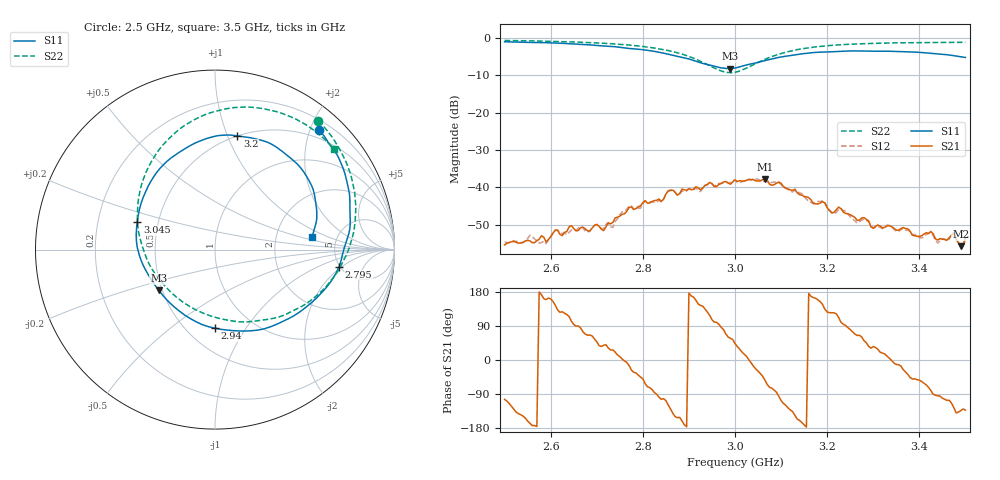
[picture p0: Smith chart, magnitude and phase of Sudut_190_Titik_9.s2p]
# Hz S RI R 50
! CMT, C1220, 16058040, 17.2.0/1
! Date: 15/08/2018 09:48:45
! Data: Format (Calibration Info)
! Freq  S11: Re/Im (F2)  S21: Re/Im (F2)  S12: Re/Im (F2)  S22: Re/Im (F2)
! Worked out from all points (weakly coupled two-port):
!   201 points, 2.5 GHz to 3.5 GHz, reference 50 ohm
!   highest |S21| = -37.79 dB at 3.065 GHz (marker M1); lowest = -55.7 dB at 3.49 GHz (marker M2)
!   lowest |S11| = -8.3 dB at 2.99 GHz (marker M3), VSWR 2.26, Z = 23.9 - j12.7 ohm
!   |S11| at or under -10 dB: nowhere
!   |S22| runs from -9.3 to -0.7 dB; largest |S21 - S12| = 0.0011
!   S11 on the Smith chart (normalised r, x): 2.5 GHz: 0.35, +2.14; 2.795 GHz: 4.91, -1.82; 2.94 GHz: 0.68, -0.73; 3.045 GHz: 0.38, +0.15; 3.2 GHz: 0.50, +1.09; 3.5 GHz: 3.25, +0.66
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2.5e9  0.5769 0.6691  -0.000405 -0.00165  -0.000437 -0.00181  0.5753 0.718
2.555e9  0.6417 0.5812  -0.00187 -0.000432  -0.00221 -0.000604  0.6363 0.649
2.59e9  0.6865 0.5166  -0.00174 0.000652  -0.00168 0.000534  0.6726 0.5962
2.61e9  0.7036 0.4774  -0.00218 0.00155  -0.00219 0.00152  0.6927 0.5622
2.67e9  0.7464 0.3258  0.000781 0.00282  0.000925 0.00271  0.7473 0.4445
2.715e9  0.7525 0.1911  0.00205 0.00165  0.00214 0.0018  0.7756 0.3341
2.77e9  0.719 0.00586  0.00519 -0.00132  0.00543 -0.00145  0.7814 0.1665
2.795e9  0.6912 -0.0952  0.00398 -0.00398  0.00363 -0.00382  0.7679 0.0775
2.835e9  0.5931 -0.2414  -0.001 -0.00689  -0.000782 -0.00666  0.7065 -0.0791
2.94e9  -0.00231 -0.4373  -0.00648 0.0087  -0.00677 0.00852  0.1735 -0.4032
2.99e9  -0.3139 -0.2257  0.00595 0.00925  0.00609 0.00981  -0.2142 -0.2656
3e9  -0.3596 -0.1599  0.00913 0.0086  0.00957 0.00816  -0.2776 -0.2039
3.045e9  -0.4334 0.1547  0.0112 -0.00484  0.0119 -0.005  -0.4315 0.1388
3.065e9  -0.3995 0.2927  0.00772 -0.0103  0.00718 -0.00974  -0.4245 0.2931
3.17e9  0.00948 0.6337  -0.00589 0.00161  -0.0059 0.0012  -0.0708 0.7454
3.2e9  0.1249 0.6335  -0.00321 0.00429  -0.00312 0.00445  0.0425 0.7803
3.335e9  0.4787 0.4539  0.00307 0.000227  0.00308 7.17e-05  0.4176 0.7418
3.425e9  0.561 0.2623  0.000426 -0.00253  0.000393 -0.00244  0.5722 0.6483
3.44e9  0.5664 0.222  -0.000146 -0.00197  -0.000103 -0.0018  0.5941 0.6304
3.475e9  0.5591 0.1343  -0.00145 -0.00199  -0.00137 -0.0019  0.6367 0.5894
3.49e9  0.5481 0.0958  -0.00113 -0.00118  -0.00124 -0.00108  0.6537 0.5706
3.5e9  0.54 0.0714  -0.00139 -0.00152  -0.00136 -0.00128  0.6651 0.5579
